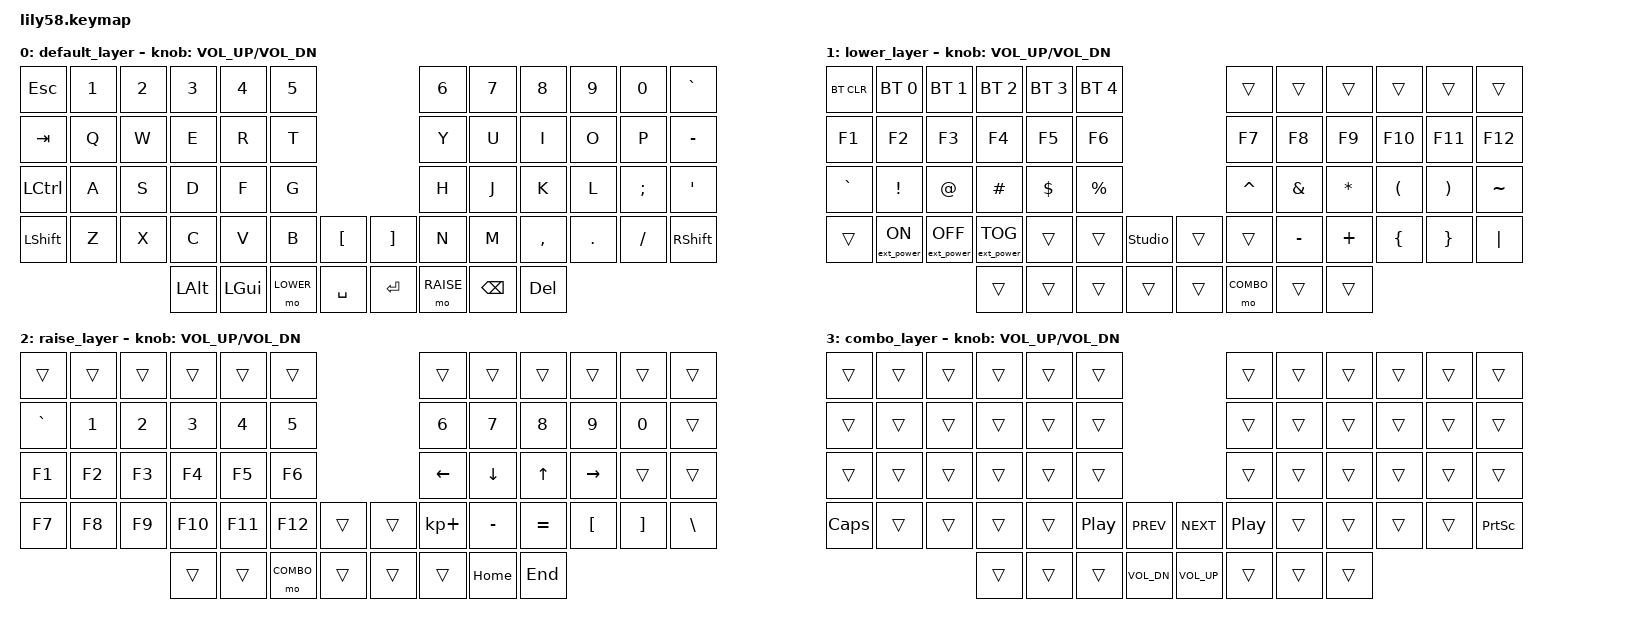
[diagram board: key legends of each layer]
/*
 * Copyright (c) 2022 The ZMK Contributors
 *
 * SPDX-License-Identifier: MIT
 */

#include <behaviors.dtsi>
#include <dt-bindings/zmk/keys.h>
#include <dt-bindings/zmk/bt.h>
#include <dt-bindings/zmk/ext_power.h>

#define DEFAULT 0
#define LOWER   1
#define RAISE   2
#define COMBO   3


/ {
    keymap {
        compatible = "zmk,keymap";

        default_layer {
//            display-name = "Default Layer";
// ------------------------------------------------------------------------------------------------------------
// |  ESC  |  1  |  2  |  3   |  4   |  5   |                   |  6   |  7    |  8    |  9   |   0   |   `   |
// |  TAB  |  Q  |  W  |  E   |  R   |  T   |                   |  Y   |  U    |  I    |  O   |   P   |   -   |
// |  CTRL |  A  |  S  |  D   |  F   |  G   |                   |  H   |  J    |  K    |  L   |   ;   |   '   |
// | SHIFT |  Z  |  X  |  C   |  V   |  B   |   "["  |  |  "]"  |  N   |  M    |  ,    |  .   |   /   | SHIFT |
//                     | ALT  | GUI  | LOWER|  SPACE |  | ENTER | RAISE| BSPC  | DEL   |
            bindings = <
&kp ESC   &kp N1  &kp N2  &kp N3   &kp N4   &kp N5                      &kp N6  &kp N7   &kp N8    &kp N9   &kp N0   &kp GRAVE
&kp TAB   &kp Q   &kp W   &kp E    &kp R    &kp T                       &kp Y   &kp U    &kp I     &kp O    &kp P    &kp MINUS
&kp LCTRL &kp A   &kp S   &kp D    &kp F    &kp G                       &kp H   &kp J    &kp K     &kp L    &kp SEMI &kp SQT
&kp LSHFT &kp Z   &kp X   &kp C    &kp V    &kp B   &kp LBKT  &kp RBKT &kp N   &kp M    &kp COMMA &kp DOT  &kp FSLH &kp RSHFT
                          &kp LALT &kp LGUI &mo LOWER &kp SPACE &kp RET &mo RAISE &kp BSPC  &kp DEL
            >;

            sensor-bindings = <&inc_dec_kp C_VOL_UP C_VOL_DN>;
        };

        lower_layer {
//          display-name = "Lower Layer";
// ------------------------------------------------------------------------------------------------------------
// | BTCLR | BT1 | BT2 |  BT3 |  BT4 |  BT5 |                   |      |       |       |      |       |       |
// |  F1   |  F2 |  F3 |  F4  |  F5  |  F6  |                   |  F7  |  F8   |  F9   |  F10 |  F11  |  F12  |
// |   `   |  !  |  @  |  #   |  $   |  %   |                   |  ^   |  &    |  *    |  (   |   )   |   ~   |
// |       |     |     |      |      |      |        |  |       |      |  _    |  +    |  {   |   }   |  "|"  |
//                     |      |      |      |        |  |       |      |       |       |
            bindings = <
&bt BT_CLR  &bt BT_SEL 0     &bt BT_SEL 1      &bt BT_SEL 2      &bt BT_SEL 3 &bt BT_SEL 4                   &trans     &trans    &trans         &trans    &trans    &trans
&kp F1      &kp F2           &kp F3            &kp F4            &kp F5       &kp F6                         &kp F7     &kp F8    &kp F9         &kp F10   &kp F11   &kp F12
&kp GRAVE   &kp EXCL         &kp AT            &kp HASH          &kp DOLLAR   &kp PRCNT                      &kp CARET  &kp AMPS  &kp STAR       &kp LPAR  &kp RPAR  &kp TILDE
&trans      &ext_power EP_ON &ext_power EP_OFF  &ext_power EP_TOG &trans        &trans       &studio_unlock    &trans     &trans    &kp MINUS &kp PLUS      &kp LBRC  &kp RBRC  &kp PIPE
                                                &trans            &trans       &trans      &trans          &trans     &mo COMBO   &trans    &trans
            >;

            sensor-bindings = <&inc_dec_kp C_VOL_UP C_VOL_DN>;
        };

        raise_layer {
//            display-name = "Raise Layer";
// ------------------------------------------------------------------------------------------------------------
// |       |     |     |      |      |      |                   |      |       |       |      |       |       |
// |   `   |  1  |  2  |  3   |  4   |  5   |                   |  6   |   7   |   8   |  9   |   0   |       |
// |   F1  |  F2 |  F3 |  F4  |  F5  |  F6  |                   |      |   <-  |   v   |  ^   |  ->   |       |
// |   F7  |  F8 |  F9 |  F10 |  F11 |  F12 |        |  |       |  +   |   -   |   =   |  [   |   ]   |   \   |
//                     |      |      |      |        |  |       |      |       |       |
            bindings = <
&trans    &trans  &trans  &trans  &trans  &trans                        &trans       &trans    &trans     &trans      &trans      &trans
&kp GRAVE &kp N1  &kp N2  &kp N3  &kp N4  &kp N5                        &kp N6       &kp N7    &kp N8     &kp N9      &kp N0      &trans
&kp F1    &kp F2  &kp F3  &kp F4  &kp F5  &kp F6                        &kp LEFT     &kp DOWN  &kp UP     &kp RIGHT   &trans      &trans
&kp F7    &kp F8  &kp F9  &kp F10 &kp F11 &kp F12  &trans     &trans    &kp KP_PLUS  &kp MINUS &kp EQUAL  &kp LBKT    &kp RBKT    &kp BSLH
                          &trans  &trans  &mo COMBO &trans    &trans    &trans       &kp HOME  &kp END
            >;

            sensor-bindings = <&inc_dec_kp C_VOL_UP C_VOL_DN>;
        };
        combo_layer {
//            display-name = "Combo Layer";
// ------------------------------------------------------------------------------------------------------------
// |       |     |     |      |      |      |                   |      |       |       |      |       |       |
// |   `   |  1  |  2  |  3   |  4   |  5   |                   |  6   |   7   |   8   |  9   |   0   |       |
// |   F1  |  F2 |  F3 |  F4  |  F5  |  F6  |                   |      |   <-  |   v   |  ^   |  ->   |       |
// |   F7  |  F8 |  F9 |  F10 |  F11 |  F12 |        |  |       |  +   |   -   |   =   |  [   |   ]   |   \   |
//                     |      |      |      |        |  |       |      |       |       |
            bindings = <
&trans    &trans  &trans  &trans  &trans  &trans                     &trans     &trans    &trans    &trans    &trans     &trans
&trans    &trans  &trans  &trans  &trans  &trans                     &trans     &trans    &trans    &trans    &trans     &trans
&trans    &trans  &trans  &trans  &trans  &trans                     &trans     &trans    &trans    &trans    &trans     &trans
&kp CAPS  &trans  &trans  &trans  &trans  &kp C_PP  &kp C_PREV  &kp C_NEXT  &kp C_PP  &trans    &trans    &trans    &trans    &kp PSCRN
                          &trans  &trans  &trans    &kp C_VOL_DN &kp C_VOL_UP &trans   &trans    &trans
            >;

            sensor-bindings = <&inc_dec_kp C_VOL_UP C_VOL_DN>;
        };
     };
};
